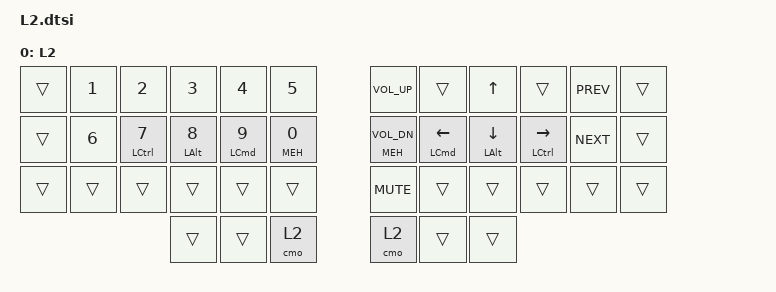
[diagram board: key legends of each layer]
/**
 * Numeric, Navigation and Media Controls Layer
 */

/ {
  keymap {
    compatible = "zmk,keymap";

    layer_2 {
      display-name = "L2";
      bindings = <
// ╭───────────────┬───────────────┬───────────────┬───────────────┬───────────────┬───────────────╮   ╭───────────────┬───────────────┬───────────────┬───────────────┬───────────────┬───────────────╮
// │0              │1              │2              │3              │4              │5              │   │6              │7              │8              │9              │10             │11             │
    &trans          &kp N1          &kp N2          &kp N3          &kp N4          &kp N5              &kp C_VOL_UP    &trans          &kp UP          &trans          &kp C_PREV      &trans          
// ├───────────────├───────────────┼───────────────┼───────────────┼───────────────┼───────────────┤   ├───────────────├───────────────┼───────────────┼───────────────┼───────────────┼───────────────┤
// │12             │13             │14             │15             │16             │17             │   │18             │19             │20             │21             │22             │23             │
    &trans          &kp N6          &hrml LCTRL N7  &hrml LALT N8   &hrml LCMD N9   &hrml MEH N0        &hrmr MEH C_VOL_DN &hrmr LCMD LEFT &hrmr LALT DOWN  &hrmr LCTRL RIGHT &kp C_NEXT &trans           
// ├───────────────├───────────────┼───────────────┼───────────────┼───────────────┼───────────────┤   ├───────────────├───────────────┼───────────────┼───────────────┼───────────────┼───────────────┤
// │24             │25             │26             │27             │28             │29             │   │30             │31             │32             │33             │34             │35             │
    &trans          &trans          &trans          &trans          &trans          &trans              &kp C_MUTE      &trans          &trans          &trans          &trans          &trans
// ╰───────────────┴───────────────┴───────────────┼───────────────┼───────────────┼───────────────┤   ├───────────────├───────────────┼───────────────┼───────────────┴───────────────┴───────────────╯
//                                                 │36             │37             │38             │   │39             │40             │41             │
                                                    &trans          &trans          &cmo L2             &cmo L2         &trans          &trans
//                                                 ╰───────────────┴───────────────┴───────────────╯   ╰───────────────┴───────────────┴───────────────╯
      >;
    };
  };
};
